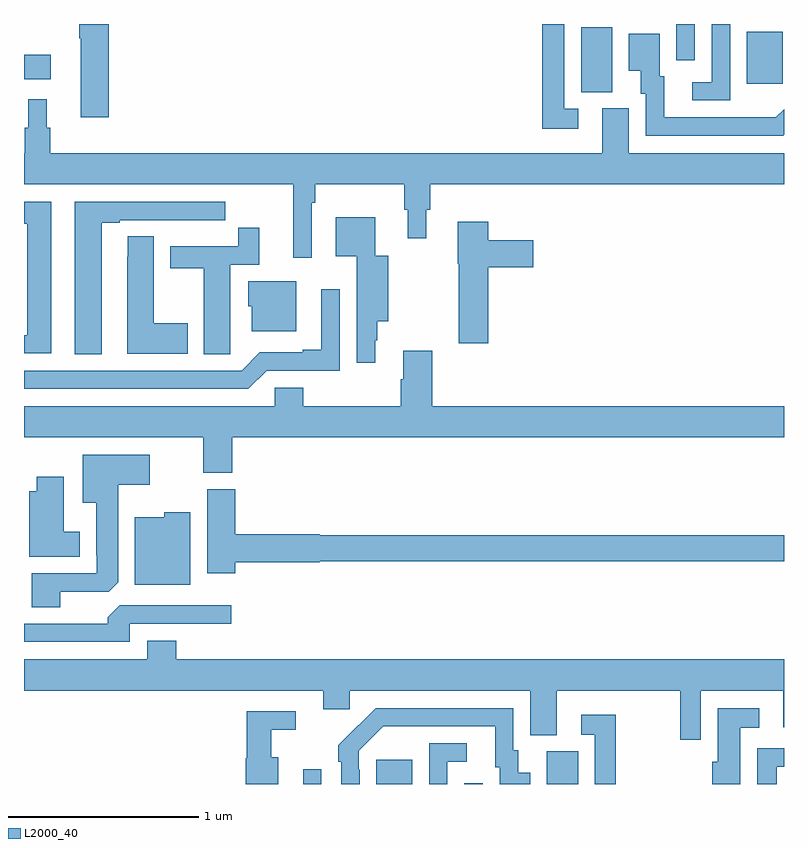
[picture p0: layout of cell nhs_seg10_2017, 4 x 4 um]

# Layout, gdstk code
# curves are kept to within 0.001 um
import gdstk
lib = gdstk.Library(unit=1e-6, precision=1e-09)
def R(c, l, rs):  # rectangles x0, y0, x1, y1
    for r in rs: c.add(gdstk.rectangle(r[:2], r[2:], *l))
def P(c, l, *ps):  # polygons
    for p in ps: c.add(gdstk.Polygon(p, *l))
L2000_40 = (2000, 40)

nhs_seg10_2017 = lib.new_cell('nhs_seg10_2017')
R(nhs_seg10_2017, L2000_40, [(218.469,1290.5,218.565,1290.577), (218.855,1290.5,219.043,1290.628), (219.318,1290.5,219.414,1290.505), (219.752,1290.5,219.916,1290.672), (219.932,1294.141,220.096,1294.484), (220.805,1294.185,220.993,1294.459), (217,1294.208,217.141,1294.338), (220.434,1294.308,220.53,1294.5)])
P(nhs_seg10_2017, L2000_40, [(220.716,1294.5),(220.62,1294.5),(220.62,1294.194),(220.518,1294.194),(220.518,1294.098),(220.716,1294.098)],
  [(219.916,1294.053),(219.843,1294.053),(219.843,1294.5),(219.727,1294.5),(219.727,1293.948),(219.916,1293.948)],
  [(217.445,1294.5),(217.291,1294.5),(217.291,1294.426),(217.298,1294.426),(217.298,1294.008),(217.445,1294.008)],
  [(221,1293.916),(221,1294.052),(220.957,1294.009),(220.369,1294.008),(220.369,1294.224),(220.345,1294.224),(220.345,1294.45),(220.184,1294.45),(220.184,1294.253),(220.247,1294.253),(220.247,1294.134),(220.272,1294.134),(220.272,1293.912),(220.996,1293.912)],
  [(218.514,1293.56),(218.534,1293.56),(218.534,1293.656),(219.001,1293.656),(219.001,1293.522),(219.02,1293.522),(219.02,1293.372),(219.118,1293.372),(219.118,1293.522),(219.137,1293.522),(219.137,1293.656),(221,1293.656),(221,1293.82),(220.183,1293.82),(220.183,1294.056),(220.043,1294.056),(220.043,1293.82),(217.139,1293.82),(217.139,1293.954),(217.12,1293.954),(217.12,1294.105),(217.022,1294.105),(217.022,1293.954),(217.003,1293.954),(217.003,1293.82),(217,1293.82),(217,1293.656),(218.417,1293.656),(218.417,1293.27),(218.514,1293.27)],
  [(217.144,1293.564),(217,1293.564),(217,1293.448),(217.016,1293.448),(217.016,1292.862),(217,1292.862),(217,1292.766),(217.144,1292.766)],
  [(217.408,1293.453),(217.504,1293.453),(217.504,1293.468),(217.78,1293.468),(217.78,1293.467),(217.946,1293.467),(217.946,1293.468),(218.059,1293.468),(218.059,1293.564),(217.268,1293.564),(217.268,1292.761),(217.408,1292.761)],
  [(218.848,1292.835),(218.86,1292.835),(218.86,1292.936),(218.916,1292.936),(218.916,1293.28),(218.848,1293.28),(218.848,1293.484),(218.642,1293.484),(218.642,1293.278),(218.75,1293.278),(218.75,1293.04),(218.751,1293.04),(218.751,1292.718),(218.848,1292.718)],
  [(219.443,1293.221),(219.679,1293.221),(219.679,1293.363),(219.443,1293.363),(219.443,1293.46),(219.283,1293.46),(219.283,1293.237),(219.289,1293.237),(219.289,1292.82),(219.443,1292.82)],
  [(218.085,1292.872),(218.086,1292.872),(218.086,1293.234),(218.237,1293.234),(218.237,1293.427),(218.128,1293.427),(218.128,1293.33),(217.769,1293.33),(217.769,1293.214),(217.946,1293.214),(217.946,1292.761),(218.085,1292.761)],
  [(217.861,1292.925),(217.684,1292.925),(217.684,1293.383),(217.545,1293.383),(217.545,1293.275),(217.544,1293.275),(217.544,1292.765),(217.861,1292.765)],
  [(218.434,1293.145),(218.18,1293.145),(218.18,1293.015),(218.198,1293.015),(218.198,1292.882),(218.434,1292.882)],
  [(218.277,1292.676),(218.661,1292.676),(218.661,1293.103),(218.564,1293.103),(218.564,1292.785),(218.468,1292.785),(218.468,1292.772),(218.241,1292.772),(218.145,1292.676),(217,1292.676),(217,1292.58),(218.181,1292.58)],
  [(218.096,1292.324),(221,1292.324),(221,1292.488),(219.149,1292.488),(219.149,1292.779),(218.996,1292.779),(218.996,1292.63),(218.984,1292.63),(218.984,1292.488),(218.471,1292.488),(218.471,1292.586),(218.319,1292.586),(218.319,1292.488),(217,1292.488),(217,1292.324),(217.943,1292.324),(217.943,1292.137),(218.096,1292.137)],
  [(217.192,1291.512),(217.446,1291.512),(217.495,1291.561),(217.495,1292.075),(217.663,1292.075),(217.663,1292.233),(217.31,1292.233),(217.31,1291.979),(217.379,1291.979),(217.379,1291.705),(217.383,1291.705),(217.383,1291.608),(217.04,1291.608),(217.04,1291.429),(217.192,1291.429)],
  [(217.294,1291.828),(217.21,1291.828),(217.21,1292.116),(217.067,1292.116),(217.067,1292.041),(217.028,1292.041),(217.028,1291.697),(217.294,1291.697)],
  [(218.111,1291.667),(218.556,1291.667),(218.556,1291.672),(221,1291.672),(221,1291.808),(218.556,1291.808),(218.556,1291.814),(218.111,1291.814),(218.111,1292.052),(217.964,1292.052),(217.964,1291.608),(218.111,1291.608)],
  [(217.876,1291.93),(217.737,1291.93),(217.737,1291.903),(217.583,1291.903),(217.583,1291.55),(217.876,1291.55)],
  [(217.557,1291.344),(218.092,1291.344),(218.092,1291.44),(217.503,1291.44),(217.442,1291.378),(217.442,1291.344),(217,1291.344),(217,1291.248),(217.557,1291.248)],
  [(217.802,1291.255),(217.649,1291.255),(217.649,1291.156),(217,1291.156),(217,1290.992),(218.576,1290.992),(218.576,1290.894),(218.715,1290.894),(218.715,1290.992),(219.665,1290.992),(219.665,1290.757),(219.805,1290.757),(219.805,1290.992),(220.455,1290.992),(220.455,1290.732),(220.563,1290.732),(220.563,1290.992),(220.997,1290.992),(220.997,1290.798),(221,1290.798),(221,1291.156),(217.802,1291.156)],
  [(218.766,1290.575),(218.763,1290.575),(218.763,1290.675),(218.892,1290.804),(219.479,1290.804),(219.479,1290.588),(219.503,1290.588),(219.503,1290.5),(219.664,1290.5),(219.664,1290.559),(219.601,1290.559),(219.601,1290.678),(219.576,1290.678),(219.576,1290.9),(218.852,1290.9),(218.655,1290.705),(218.655,1290.617),(218.67,1290.617),(218.67,1290.5),(218.766,1290.5)],
  [(220.771,1290.797),(220.87,1290.797),(220.87,1290.898),(220.652,1290.898),(220.652,1290.618),(220.622,1290.618),(220.622,1290.5),(220.771,1290.5)],
  [(218.338,1290.64),(218.302,1290.64),(218.302,1290.785),(218.431,1290.785),(218.431,1290.882),(218.173,1290.882),(218.173,1290.636),(218.168,1290.636),(218.168,1290.5),(218.338,1290.5)],
  [(220.114,1290.865),(219.933,1290.865),(219.933,1290.759),(220.005,1290.759),(220.005,1290.5),(220.114,1290.5)],
  [(219.228,1290.618),(219.331,1290.618),(219.331,1290.714),(219.132,1290.714),(219.132,1290.5),(219.228,1290.5)],
  [(220.963,1290.591),(221,1290.591),(221,1290.687),(220.859,1290.687),(220.859,1290.5),(220.963,1290.5)])

lib.write_gds('nhs_seg10_2017.gds')
